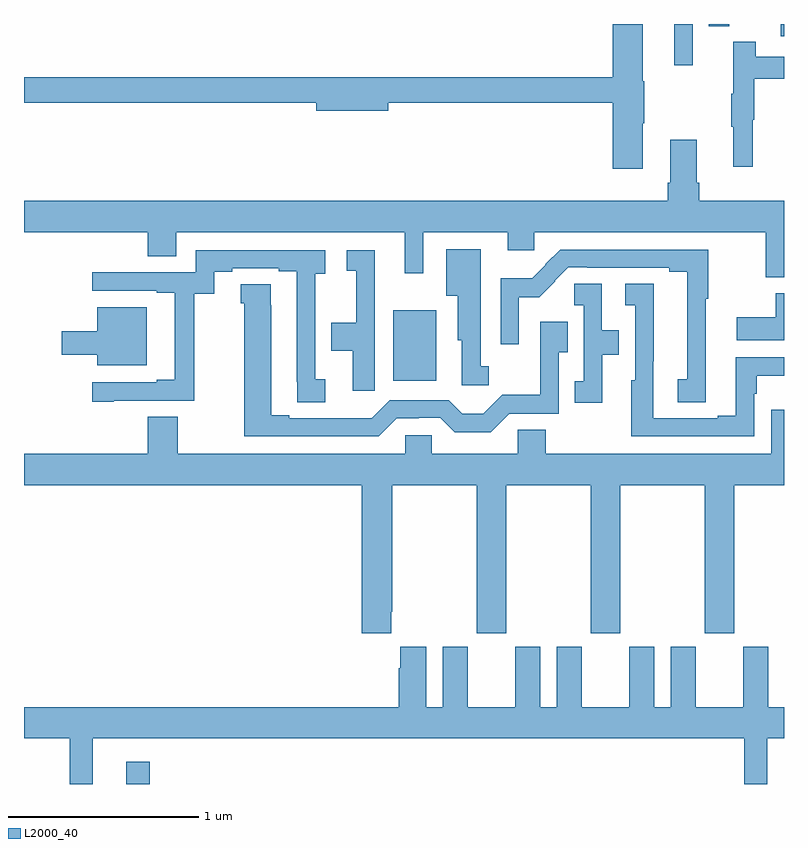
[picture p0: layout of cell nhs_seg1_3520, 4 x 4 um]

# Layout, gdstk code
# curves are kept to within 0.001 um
import gdstk
lib = gdstk.Library(unit=1e-6, precision=1e-09)
def R(c, l, rs):  # rectangles x0, y0, x1, y1
    for r in rs: c.add(gdstk.rectangle(r[:2], r[2:], *l))
def P(c, l, *ps):  # polygons
    for p in ps: c.add(gdstk.Polygon(p, *l))
L2000_40 = (2000, 40)

nhs_seg1_3520 = lib.new_cell('nhs_seg1_3520')
R(nhs_seg1_3520, L2000_40, [(303.539,510.199,303.661,510.316), (304.943,512.321,305.17,512.692), (306.422,513.981,306.519,514.199), (306.984,514.134,307,514.199), (306.604,514.186,306.712,514.199)])
P(nhs_seg1_3520, L2000_40, [(306.256,513.676),(306.264,513.676),(306.264,513.897),(306.256,513.897),(306.256,514.199),(306.098,514.199),(306.098,513.92),(303,513.92),(303,513.784),(304.538,513.784),(304.538,513.742),(304.918,513.742),(304.918,513.784),(306.098,513.784),(306.098,513.438),(306.256,513.438)],
  [(306.836,513.696),(306.844,513.696),(306.844,513.91),(307,513.91),(307,514.026),(306.851,514.026),(306.851,514.105),(306.734,514.105),(306.734,513.833),(306.723,513.833),(306.723,513.659),(306.734,513.659),(306.734,513.447),(306.836,513.447)],
  [(303,513.104),(303.65,513.104),(303.65,512.977),(303.802,512.977),(303.802,513.104),(305.003,513.104),(305.003,512.886),(305.1,512.886),(305.1,513.104),(305.546,513.104),(305.546,513.009),(305.685,513.009),(305.685,513.104),(306.904,513.104),(306.904,512.867),(307,512.867),(307,513.268),(306.554,513.268),(306.554,513.364),(306.541,513.364),(306.541,513.589),(306.401,513.589),(306.401,513.364),(306.389,513.364),(306.389,513.268),(303,513.268)],
  [(305.445,512.398),(305.404,512.398),(305.404,513.013),(305.222,513.013),(305.222,512.768),(305.282,512.768),(305.282,512.535),(305.303,512.535),(305.303,512.298),(305.445,512.298)],
  [(306.589,512.752),(306.601,512.752),(306.601,513.012),(305.822,513.012),(305.744,512.935),(305.747,512.933),(305.674,512.86),(305.508,512.86),(305.508,512.514),(305.604,512.514),(305.604,512.762),(305.713,512.762),(305.796,512.844),(305.793,512.847),(305.865,512.919),(305.965,512.919),(305.965,512.916),(306.395,512.916),(306.395,512.896),(306.491,512.896),(306.491,512.328),(306.441,512.328),(306.441,512.209),(306.589,512.209)],
  [(304.585,512.328),(304.533,512.328),(304.533,512.885),(304.585,512.885),(304.585,513.009),(303.903,513.009),(303.903,512.892),(303.36,512.892),(303.36,512.796),(303.698,512.796),(303.698,512.784),(303.794,512.784),(303.794,512.326),(303.698,512.326),(303.698,512.313),(303.36,512.313),(303.36,512.212),(303.472,512.212),(303.472,512.217),(303.896,512.217),(303.896,512.78),(304,512.78),(304,512.895),(304.096,512.895),(304.096,512.913),(304.34,512.913),(304.34,512.898),(304.436,512.898),(304.436,512.317),(304.437,512.317),(304.437,512.209),(304.585,512.209)],
  [(304.846,513.007),(304.698,513.007),(304.698,512.901),(304.748,512.901),(304.748,512.626),(304.618,512.626),(304.618,512.479),(304.73,512.479),(304.73,512.268),(304.846,512.268)],
  [(306.843,512.252),(306.856,512.252),(306.856,512.348),(307,512.348),(307,512.445),(306.746,512.445),(306.746,512.137),(306.65,512.137),(306.65,512.124),(306.312,512.124),(306.312,512.425),(306.314,512.425),(306.314,512.831),(306.165,512.831),(306.165,512.72),(306.216,512.72),(306.216,512.325),(306.197,512.325),(306.197,512.028),(306.843,512.028)],
  [(306.043,512.458),(306.131,512.458),(306.131,512.587),(306.042,512.587),(306.042,512.831),(305.897,512.831),(305.897,512.72),(305.946,512.72),(305.946,512.318),(305.899,512.318),(305.899,512.205),(306.043,512.205)],
  [(304.962,512.124),(305.078,512.124),(305.078,512.127),(305.19,512.127),(305.266,512.051),(305.456,512.051),(305.553,512.148),(305.814,512.148),(305.814,512.471),(305.861,512.471),(305.861,512.632),(305.718,512.632),(305.718,512.249),(305.516,512.249),(305.416,512.149),(305.306,512.149),(305.235,512.22),(304.926,512.22),(304.831,512.125),(304.396,512.124),(304.396,512.139),(304.3,512.139),(304.299,512.828),(304.142,512.828),(304.142,512.73),(304.16,512.73),(304.16,512.028),(304.866,512.028)],
  [(307,512.782),(306.956,512.782),(306.956,512.656),(306.75,512.656),(306.75,512.534),(307,512.534)],
  [(303.646,512.707),(303.386,512.707),(303.386,512.581),(303.198,512.581),(303.198,512.459),(303.386,512.459),(303.386,512.402),(303.646,512.402)],
  [(304.933,511.105),(304.938,511.105),(304.938,511.772),(305.383,511.772),(305.383,510.993),(305.538,510.993),(305.538,511.772),(305.983,511.772),(305.983,510.993),(306.138,510.993),(306.138,511.772),(306.583,511.772),(306.583,510.993),(306.738,510.993),(306.738,511.772),(307,511.772),(307,512.17),(306.933,512.17),(306.933,511.936),(305.745,511.936),(305.745,512.063),(305.598,512.063),(305.598,511.936),(305.145,511.936),(305.145,512.034),(305.007,512.034),(305.007,511.936),(303.81,511.936),(303.81,512.132),(303.65,512.132),(303.65,511.936),(303,511.936),(303,511.772),(304.778,511.772),(304.778,510.993),(304.933,510.993)],
  [(303.361,510.44),(306.792,510.44),(306.792,510.199),(306.913,510.199),(306.913,510.44),(307,510.44),(307,510.604),(306.916,510.604),(306.916,510.922),(306.785,510.922),(306.785,510.604),(306.535,510.604),(306.535,510.922),(306.404,510.922),(306.404,510.604),(306.316,510.604),(306.316,510.922),(306.185,510.922),(306.185,510.604),(305.935,510.604),(305.935,510.922),(305.804,510.922),(305.804,510.604),(305.716,510.604),(305.716,510.922),(305.585,510.922),(305.585,510.604),(305.335,510.604),(305.335,510.922),(305.204,510.922),(305.204,510.604),(305.116,510.604),(305.116,510.922),(304.979,510.922),(304.979,510.809),(304.973,510.809),(304.973,510.604),(303,510.604),(303,510.44),(303.24,510.44),(303.24,510.199),(303.361,510.199)])

lib.write_gds('nhs_seg1_3520.gds')
